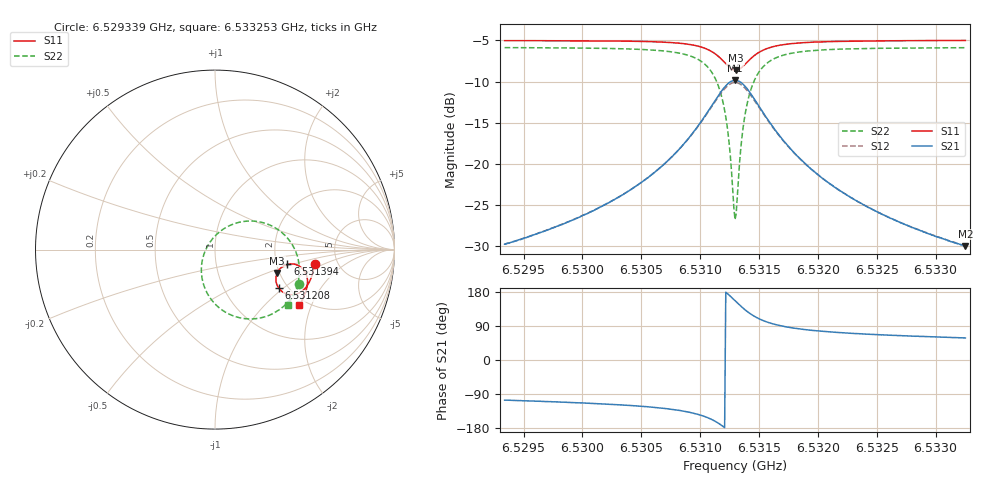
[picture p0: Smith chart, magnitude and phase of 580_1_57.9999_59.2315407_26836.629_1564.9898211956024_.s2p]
#  HZ  S  RI  R  50.00
! Rohde & Schwarz Vector Network Analyzer
! Rohde-Schwarz,ZNB20-2Port,1311601062101988,3.16
! Created: UTC 3/21/2024, 1:16:16 AM
! freq[Hz]  re:S11  im:S11  re:S21  im:S21  re:S12  im:S12  re:S22  im:S22
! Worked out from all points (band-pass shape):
!   401 points, 6.529339 GHz to 6.533253 GHz, reference 50 ohm
!   highest |S21| = -9.84 dB at 6.531296 GHz (marker M1); lowest = -29.9 dB at 6.533253 GHz (marker M2)
!   |S21| within 3 dB of the highest: 6.531102 GHz to 6.531493 GHz (390.9 kHz wide, 0.00599 % of centre)
!   lowest |S11| = -8.6 dB at 6.531306 GHz (marker M3), VSWR 2.18, Z = 97.2 - j29.3 ohm
!   |S11| at or under -10 dB: nowhere
!   |S22| runs from -26.7 to -5.9 dB; largest |S21 - S12| = 0.013
!   S11 on the Smith chart (normalised r, x): 6.529339 GHz: 3.34, -0.81; 6.531208 GHz: 1.79, -0.92; 6.531394 GHz: 2.29, -0.45; 6.533253 GHz: 1.82, -1.64
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6.5293395e9  0.5545 -0.0828  -0.00897 -0.0314  -0.00964 -0.0312  0.4705 -0.1934
6.529995e9  0.5422 -0.1377  -0.0192 -0.0445  -0.0203 -0.0441  0.4367 -0.2543
6.5303472e9  0.5302 -0.1709  -0.0317 -0.0572  -0.0332 -0.0566  0.404 -0.2953
6.5306505e9  0.5116 -0.204  -0.0552 -0.0756  -0.0576 -0.0739  0.3503 -0.3405
6.5308756e9  0.4828 -0.233  -0.0976 -0.0947  -0.1003 -0.0912  0.2656 -0.3779
6.5310419e9  0.4368 -0.2509  -0.1689 -0.0995  -0.171 -0.0924  0.135 -0.3793
6.5311397e9  0.39 -0.2433  -0.2409 -0.0699  -0.2394 -0.0597  0.0153 -0.3172
6.5312082e9  0.3542 -0.2132  -0.293 -0.00718  -0.2861 0.00297  -0.0609 -0.2029
6.5312376e9  0.3435 -0.1915  -0.3062 0.0335  -0.2967 0.0423  -0.0755 -0.1331
6.5312767e9  0.3398 -0.1568  -0.3056 0.0961  -0.294 0.1012  -0.0633 -0.0309
6.5312963e9  0.3435 -0.1388  -0.296 0.1274  -0.284 0.1305  -0.0423 0.0183
6.5313061e9  0.3466 -0.1303  -0.289 0.1422  -0.277 0.1443  -0.028 0.0412
6.5313159e9  0.3508 -0.1222  -0.2802 0.1563  -0.2687 0.1572  -0.0118 0.0626
6.531355e9  0.3743 -0.096  -0.2357 0.2007  -0.2259 0.1983  0.0686 0.1275
6.5313941e9  0.4032 -0.0823  -0.1838 0.2238  -0.1766 0.2198  0.1581 0.1566
6.5314626e9  0.4489 -0.083  -0.1041 0.2236  -0.1008 0.2201  0.2907 0.1427
6.5315605e9  0.4883 -0.1067  -0.0369 0.189  -0.0353 0.1871  0.3989 0.0696
6.5317072e9  0.5104 -0.1445  0.00278 0.1388  0.00401 0.1381  0.457 -0.0309
6.5319518e9  0.5152 -0.1888  0.0187 0.0902  0.0198 0.0899  0.4699 -0.1315
6.5322551e9  0.5083 -0.2259  0.021 0.0607  0.0218 0.0604  0.4582 -0.1996
6.5326074e9  0.4963 -0.2586  0.0197 0.043  0.0204 0.0428  0.4394 -0.2484
6.5332531e9  0.4707 -0.3076  0.0168 0.027  0.0173 0.0266  0.4048 -0.3072
